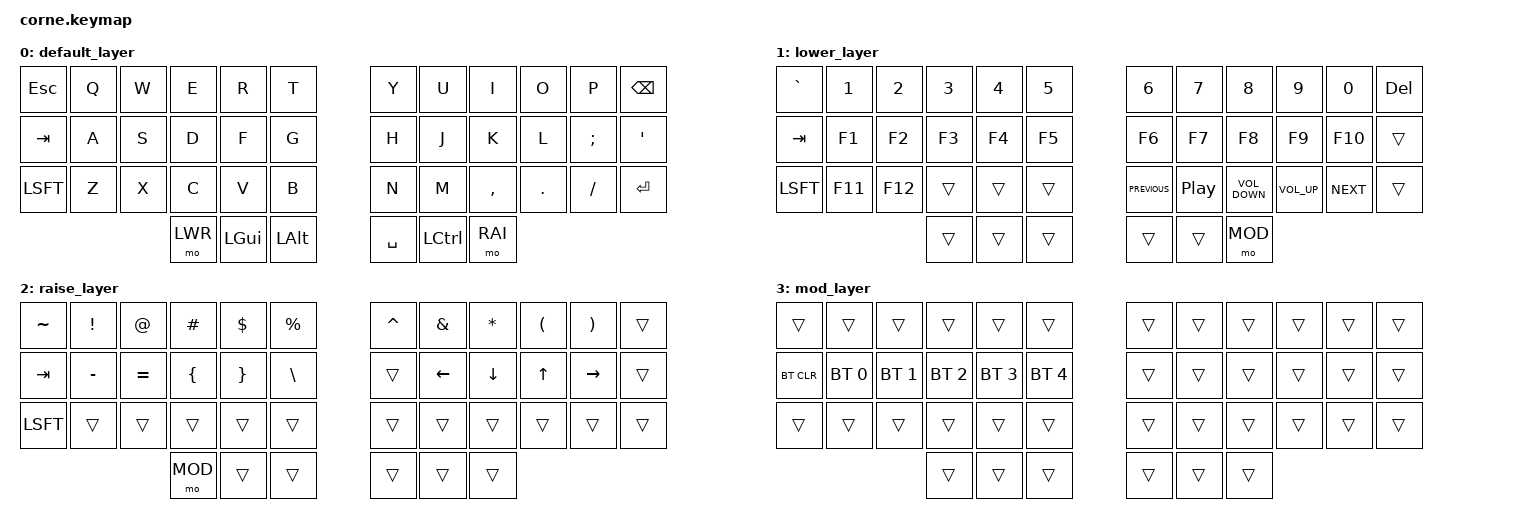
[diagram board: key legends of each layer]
/*
 * Copyright (c) 2020 The ZMK Contributors
 *
 * SPDX-License-Identifier: MIT
 */

#include <behaviors.dtsi>
#include <dt-bindings/zmk/keys.h>
#include <dt-bindings/zmk/bt.h>
#define DFLT 0
#define LWR  1
#define RAI  2
#define MOD  3
/*
* Convert ZMK -> QMK codes
*/
#define MPRV C_PREVIOUS
#define MPLY C_PLAY_PAUSE
#define VOLD C_VOLUME_DOWN
#define VOLU C_VOLUME_UP
#define MNXT C_NEXT
#define TILD TILDE
#define PERC PRCNT
#define CIRC CARET
#define MINS MINUS
#define EQL  EQUAL

/ {
        keymap {
                compatible = "zmk,keymap";

                default_layer {
                  bindings = <
        &kp ESC   &kp Q   &kp W   &kp E     &kp R      &kp T              &kp Y     &kp U       &kp I        &kp O      &kp P      &kp BSPC
        &kp TAB   &kp A   &kp S   &kp D     &kp F      &kp G              &kp H     &kp J       &kp K        &kp L      &kp SEMI   &kp SQT
        &kp LSFT  &kp Z   &kp X   &kp C     &kp V      &kp B              &kp N     &kp M       &kp COMMA    &kp DOT    &kp FSLH   &kp ENTER
                                  &mo LWR   &kp LGUI   &kp LALT           &kp SPC   &kp LCTRL    &mo RAI
                  >;
                };
                lower_layer {
                  bindings = <
        &kp GRAVE  &kp N1    &kp N2    &kp N3     &kp N4   &kp N5               &kp N6     &kp N7     &kp N8    &kp N9    &kp N0    &kp DEL
        &kp TAB    &kp F1   &kp F2   &kp F3    &kp F4  &kp F5              &kp F6    &kp F7    &kp F8   &kp F9   &kp F10  &trans
        &kp LSFT   &kp F11  &kp F12  &trans    &trans  &trans              &kp MPRV  &kp MPLY  &kp VOLD &kp VOLU &kp MNXT &trans
                                     &trans    &trans  &trans              &trans    &trans    &mo MOD

                  >;
                };

                raise_layer {
                  bindings = <
        &kp TILD &kp EXCL &kp AT   &kp HASH &kp DLLR &kp PERC             &kp CIRC &kp AMPS &kp STAR &kp LPAR &kp RPAR  &trans
        &kp TAB  &kp MINS &kp EQL  &kp LBRC &kp RBRC &kp BSLH             &trans   &kp LEFT &kp DOWN &kp UP   &kp RIGHT &trans
        &kp LSFT &trans   &trans   &trans   &trans   &trans               &trans   &trans   &trans   &trans   &trans    &trans
                                   &mo MOD  &trans   &trans               &trans   &trans   &trans
                  >;
                };

                mod_layer {
                  bindings = <
        &trans     &trans       &trans       &trans       &trans       &trans               &trans   &trans   &trans   &trans   &trans   &trans
        &bt BT_CLR &bt BT_SEL 0 &bt BT_SEL 1 &bt BT_SEL 2 &bt BT_SEL 3 &bt BT_SEL 4         &trans   &trans   &trans   &trans   &trans   &trans
        &trans     &trans       &trans       &trans       &trans       &trans               &trans   &trans   &trans   &trans   &trans   &trans
                                             &trans       &trans       &trans               &trans   &trans   &trans
                  >;
                };
        };
};
